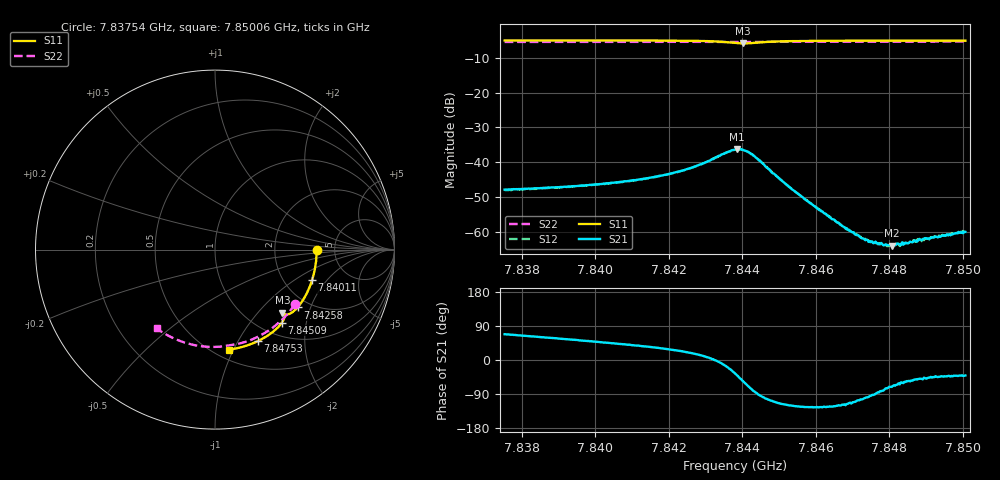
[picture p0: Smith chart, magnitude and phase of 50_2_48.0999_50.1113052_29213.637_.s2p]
#  HZ  S  RI  R  50.00
! Rohde & Schwarz Vector Network Analyzer
! Rohde-Schwarz,ZNB20-2Port,1311601062101988,3.16
! Created: UTC 12/23/2023, 3:39:40 AM
! freq[Hz]  re:S11  im:S11  re:S21  im:S21  re:S12  im:S12  re:S22  im:S22
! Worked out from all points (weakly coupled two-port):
!   401 points, 7.83754 GHz to 7.85006 GHz, reference 50 ohm
!   highest |S21| = -36.21 dB at 7.84386 GHz (marker M1); lowest = -64.0 dB at 7.84806 GHz (marker M2)
!   lowest |S11| = -5.8 dB at 7.84402 GHz (marker M3), VSWR 3.11, Z = 71.8 - j68.4 ohm
!   |S11| at or under -10 dB: nowhere
!   |S22| runs from -5.4 to -5.3 dB; largest |S21 - S12| = 0.00031
!   S11 on the Smith chart (normalised r, x): 7.83754 GHz: 3.61, -0.01; 7.84011 GHz: 2.83, -1.42; 7.84258 GHz: 1.73, -1.63; 7.84509 GHz: 1.25, -1.46; 7.84753 GHz: 0.81, -1.21; 7.85006 GHz: 0.59, -0.96
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7.83754e9  0.5666 -0.0011  0.0015 0.00373  0.00149 0.00364  0.4471 -0.3026
7.839638e9  0.5497 -0.1396  0.00287 0.00361  0.00282 0.00357  0.3497 -0.4123
7.840108e9  0.541 -0.1701  0.00328 0.00356  0.00321 0.00353  0.3241 -0.4329
7.841736e9  0.4957 -0.2722  0.00539 0.00334  0.00532 0.0033  0.2263 -0.4919
7.842581e9  0.4599 -0.3225  0.00775 0.00267  0.00771 0.00266  0.171 -0.5137
7.843333e9  0.4126 -0.359  0.0121 -0.000827  0.0119 -0.000753  0.1197 -0.5273
7.843802e9  0.379 -0.3582  0.0124 -0.00882  0.0124 -0.00869  0.0884 -0.532
7.843865e9  0.3767 -0.3558  0.0116 -0.0102  0.0117 -0.01  0.0844 -0.5323
7.844021e9  0.3759 -0.3505  0.00835 -0.0124  0.00847 -0.0124  0.0746 -0.5337
7.844335e9  0.3851 -0.3554  0.00143 -0.0121  0.00141 -0.0121  0.0544 -0.5375
7.845086e9  0.3734 -0.4062  -0.00234 -0.00479  -0.00233 -0.00483  0.00217 -0.5427
7.8459e9  0.3331 -0.4497  -0.00138 -0.00204  -0.00142 -0.00203  -0.0556 -0.541
7.846902e9  0.2762 -0.4898  -0.000415 -0.000945  -0.00045 -0.000964  -0.125 -0.53
7.847278e9  0.2538 -0.502  -0.000182 -0.000776  -0.000193 -0.000773  -0.1504 -0.5235
7.847528e9  0.2387 -0.5099  -2.42e-05 -0.000723  -3.17e-05 -0.000727  -0.1674 -0.5183
7.847998e9  0.2096 -0.5226  0.000214 -0.000601  0.000193 -0.000615  -0.1986 -0.5077
7.84806e9  0.2057 -0.5243  0.000204 -0.000594  0.000213 -0.000579  -0.2027 -0.506
7.848436e9  0.1822 -0.5327  0.000357 -0.000576  0.000359 -0.000598  -0.2271 -0.4958
7.84878e9  0.1602 -0.5398  0.000477 -0.000569  0.000504 -0.000597  -0.2488 -0.4854
7.849e9  0.146 -0.5437  0.000524 -0.000609  0.000535 -0.000581  -0.2626 -0.4784
7.849219e9  0.1319 -0.5473  0.000579 -0.000587  0.000614 -0.000596  -0.2757 -0.4709
7.850064e9  0.0764 -0.5574  0.000749 -0.000646  0.000735 -0.000664  -0.3256 -0.4386
